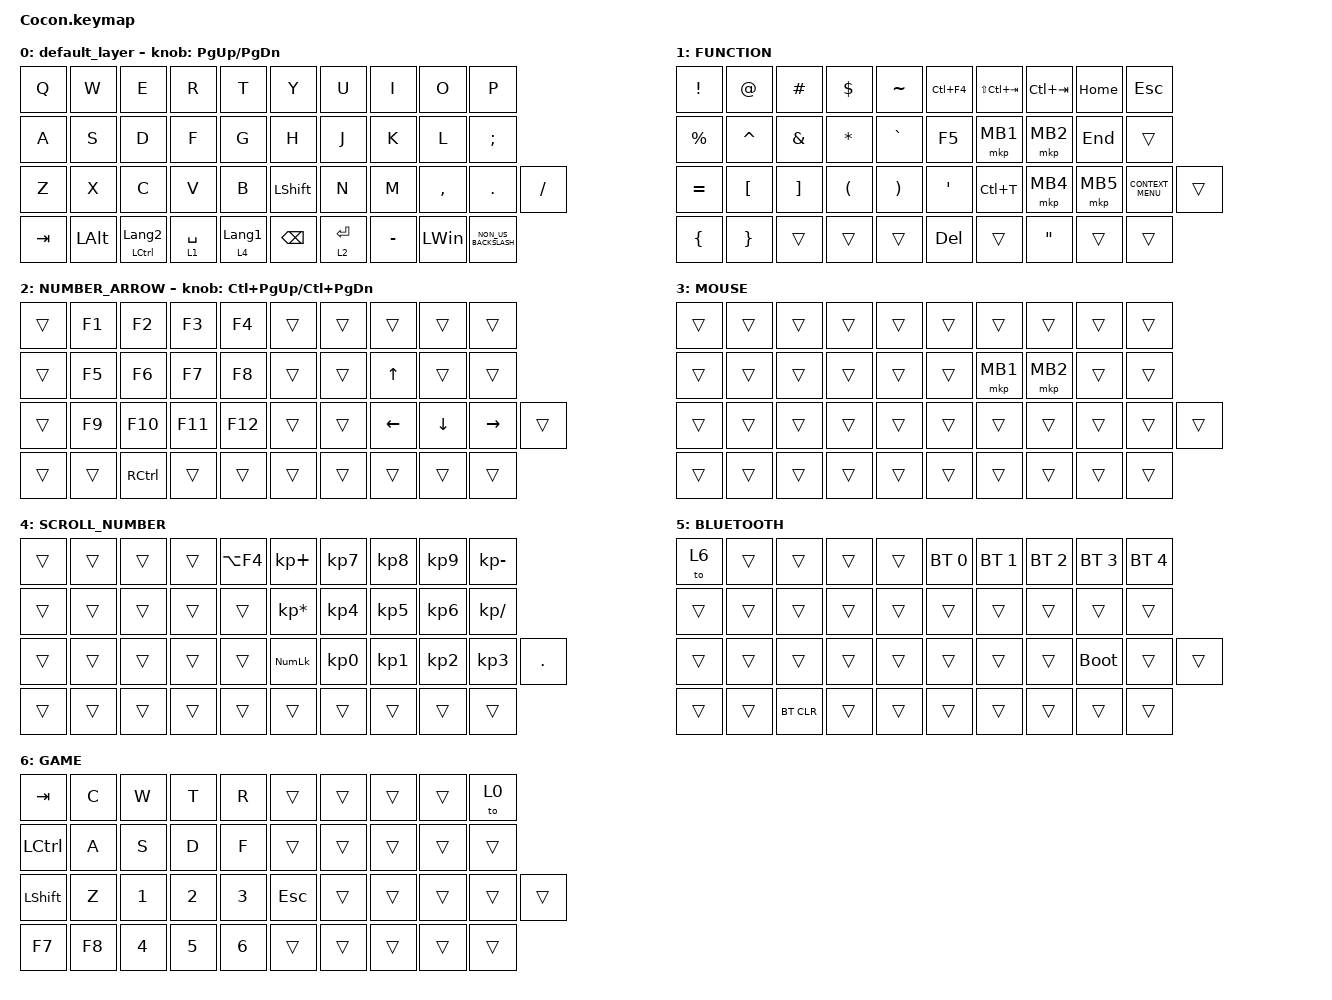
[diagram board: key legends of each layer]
#include <behaviors.dtsi>
#include <dt-bindings/zmk/bt.h>
#include <dt-bindings/zmk/keys.h>
#include <dt-bindings/zmk/pointing.h>

#define MOUSE 4
#define SCROLL 5
#define NUM 6

&mt {
    flavor = "balanced";
    quick-tap-ms = <0>;
};

/ {
    combos {
        compatible = "zmk,combos";

        layer_6 {
            bindings = <&sl 5>;
            key-positions = <25 38>;
        };
    };

    keymap {
        compatible = "zmk,keymap";

        default_layer {
            bindings = <
&kp Q    &kp W         &kp E                 &kp R        &kp T             &kp Y           &kp U        &kp I      &kp O         &kp P
&kp A    &kp S         &kp D                 &kp F        &kp G             &kp H           &kp J        &kp K      &kp L         &kp SEMI
&kp Z    &kp X         &kp C                 &kp V        &kp B             &kp LEFT_SHIFT  &kp N        &kp M      &kp COMMA     &kp DOT               &kp SLASH
&kp TAB  &kp LEFT_ALT  &mt LCTRL LANGUAGE_2  &lt 1 SPACE  &lt 4 LANGUAGE_1  &kp BACKSPACE   &lt 2 ENTER  &kp MINUS  &kp LEFT_WIN  &kp NON_US_BACKSLASH
            >;

            sensor-bindings = <&inc_dec_kp PG_UP PAGE_DOWN>;
        };

        FUNCTION {
            bindings = <
&kp EXCL        &kp AT            &kp HASH           &kp DLLR              &kp TILDE              &kp LC(F4)  &kp LS(LC(TAB))  &kp LC(TAB)  &kp HOME  &kp ESCAPE
&kp PRCNT       &kp CARET         &kp AMPS           &kp STAR              &kp GRAVE              &kp F5      &mkp MB1         &mkp MB2     &kp END   &trans
&kp EQUAL       &kp LEFT_BRACKET  &kp RIGHT_BRACKET  &kp LEFT_PARENTHESIS  &kp RIGHT_PARENTHESIS  &kp SQT     &kp LC(T)        &mkp MB4     &mkp MB5  &kp K_CONTEXT_MENU  &trans
&kp LEFT_BRACE  &kp RIGHT_BRACE   &trans             &trans                &trans                 &kp DELETE  &trans           &kp DQT      &trans    &trans
            >;
        };

        NUMBER_ARROW {
            bindings = <
&trans  &kp F1  &kp F2     &kp F3   &kp F4   &trans  &trans  &trans        &trans    &trans
&trans  &kp F5  &kp F6     &kp F7   &kp F8   &trans  &trans  &kp UP_ARROW  &trans    &trans
&trans  &kp F9  &kp F10    &kp F11  &kp F12  &trans  &trans  &kp LEFT      &kp DOWN  &kp RIGHT  &trans
&trans  &trans  &kp RCTRL  &trans   &trans   &trans  &trans  &trans        &trans    &trans
            >;

            sensor-bindings = <&inc_dec_kp LC(PAGE_UP) LC(PAGE_DOWN)>;
        };

        MOUSE {
            bindings = <
&trans  &trans  &trans  &trans  &trans  &trans  &trans    &trans    &trans  &trans
&trans  &trans  &trans  &trans  &trans  &trans  &mkp MB1  &mkp MB2  &trans  &trans
&trans  &trans  &trans  &trans  &trans  &trans  &trans    &trans    &trans  &trans  &trans
&trans  &trans  &trans  &trans  &trans  &trans  &trans    &trans    &trans  &trans
            >;
        };

        SCROLL_NUMBER {
            bindings = <
&trans  &trans  &trans  &trans  &kp LA(F4)  &kp KP_PLUS      &kp KP_NUMBER_7  &kp KP_NUMBER_8  &kp KP_NUMBER_9  &kp KP_MINUS
&trans  &trans  &trans  &trans  &trans      &kp KP_ASTERISK  &kp KP_NUMBER_4  &kp KP_NUMBER_5  &kp KP_NUMBER_6  &kp KP_SLASH
&trans  &trans  &trans  &trans  &trans      &kp KP_NUMLOCK   &kp KP_NUMBER_0  &kp KP_NUMBER_1  &kp KP_NUMBER_2  &kp KP_NUMBER_3  &kp PERIOD
&trans  &trans  &trans  &trans  &trans      &trans           &trans           &trans           &trans           &trans
            >;
        };

        BLUETOOTH {
            bindings = <
&to 6   &trans  &trans      &trans  &trans  &bt BT_SEL 0  &bt BT_SEL 1  &bt BT_SEL 2  &bt BT_SEL 3  &bt BT_SEL 4
&trans  &trans  &trans      &trans  &trans  &trans        &trans        &trans        &trans        &trans
&trans  &trans  &trans      &trans  &trans  &trans        &trans        &trans        &bootloader   &trans        &trans
&trans  &trans  &bt BT_CLR  &trans  &trans  &trans        &trans        &trans        &trans        &trans
            >;
        };

        GAME {
            bindings = <
&kp TAB         &kp C   &kp W         &kp T         &kp R         &trans   &trans  &trans  &trans  &to 0
&kp LCTRL       &kp A   &kp S         &kp D         &kp F         &trans   &trans  &trans  &trans  &trans
&kp LEFT_SHIFT  &kp Z   &kp NUMBER_1  &kp NUMBER_2  &kp NUMBER_3  &kp ESC  &trans  &trans  &trans  &trans  &trans
&kp F7          &kp F8  &kp NUMBER_4  &kp NUMBER_5  &kp NUMBER_6  &trans   &trans  &trans  &trans  &trans
            >;
        };
    };
};
